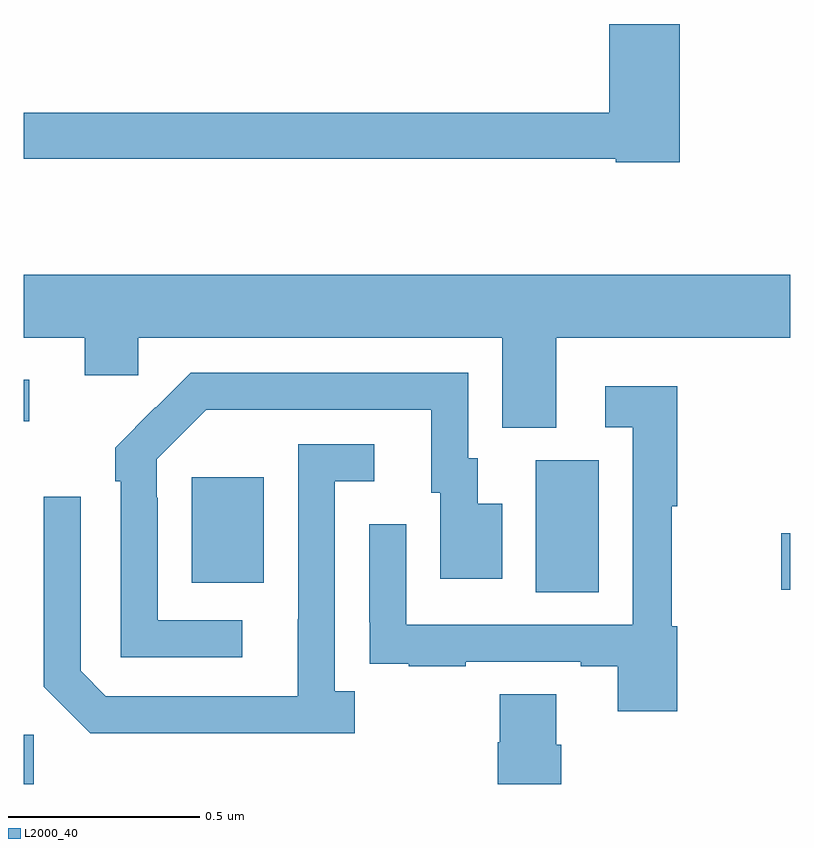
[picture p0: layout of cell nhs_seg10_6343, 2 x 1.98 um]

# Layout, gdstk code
import gdstk
lib = gdstk.Library(unit=1e-6, precision=1e-09)
def R(c, l, rs):  # rectangles x0, y0, x1, y1
    for r in rs: c.add(gdstk.rectangle(r[:2], r[2:], *l))
def P(c, l, *ps):  # polygons
    for p in ps: c.add(gdstk.Polygon(p, *l))
L2000_40 = (2000, 40)

nhs_seg10_6343 = lib.new_cell('nhs_seg10_6343')
R(nhs_seg10_6343, L2000_40, [(190,1284.5,190.026,1284.628), (191.336,1285,191.5,1285.344), (191.976,1285.007,192,1285.154), (190.439,1285.025,190.627,1285.3), (190,1285.446,190.015,1285.554)])
P(nhs_seg10_6343, L2000_40, [(191.711,1286.482),(191.528,1286.482),(191.528,1286.251),(190,1286.251),(190,1286.13),(191.544,1286.13),(191.544,1286.122),(191.711,1286.122)],
  [(191.389,1285.664),(192,1285.664),(192,1285.828),(190,1285.828),(190,1285.664),(190.16,1285.664),(190.16,1285.566),(190.299,1285.566),(190.299,1285.664),(191.249,1285.664),(191.249,1285.429),(191.389,1285.429)],
  [(190.57,1284.927),(190.35,1284.927),(190.35,1285.247),(190.347,1285.247),(190.347,1285.347),(190.476,1285.476),(191.063,1285.476),(191.063,1285.26),(191.087,1285.26),(191.087,1285.035),(191.248,1285.035),(191.248,1285.231),(191.185,1285.231),(191.185,1285.35),(191.16,1285.35),(191.16,1285.572),(190.436,1285.572),(190.345,1285.481),(190.344,1285.482),(190.239,1285.377),(190.239,1285.289),(190.254,1285.289),(190.254,1284.831),(190.57,1284.831)],
  [(191.705,1284.912),(191.69,1284.912),(191.69,1285.224),(191.705,1285.224),(191.705,1285.537),(191.517,1285.537),(191.517,1285.431),(191.589,1285.431),(191.589,1284.915),(190.998,1284.915),(190.998,1285.177),(190.902,1285.177),(190.902,1284.922),(190.903,1284.922),(190.903,1284.813),(191.005,1284.813),(191.005,1284.807),(191.153,1284.807),(191.153,1284.819),(191.453,1284.819),(191.453,1284.807),(191.549,1284.807),(191.549,1284.69),(191.705,1284.69)],
  [(190.864,1284.742),(190.812,1284.742),(190.812,1285.29),(190.915,1285.29),(190.915,1285.386),(190.716,1285.386),(190.716,1284.929),(190.715,1284.929),(190.715,1284.729),(190.215,1284.729),(190.149,1284.795),(190.149,1285.249),(190.053,1285.249),(190.053,1284.753),(190.174,1284.632),(190.864,1284.632)],
  [(191.402,1284.602),(191.389,1284.602),(191.389,1284.734),(191.242,1284.734),(191.242,1284.609),(191.237,1284.609),(191.237,1284.5),(191.402,1284.5)])

lib.write_gds('nhs_seg10_6343.gds')
